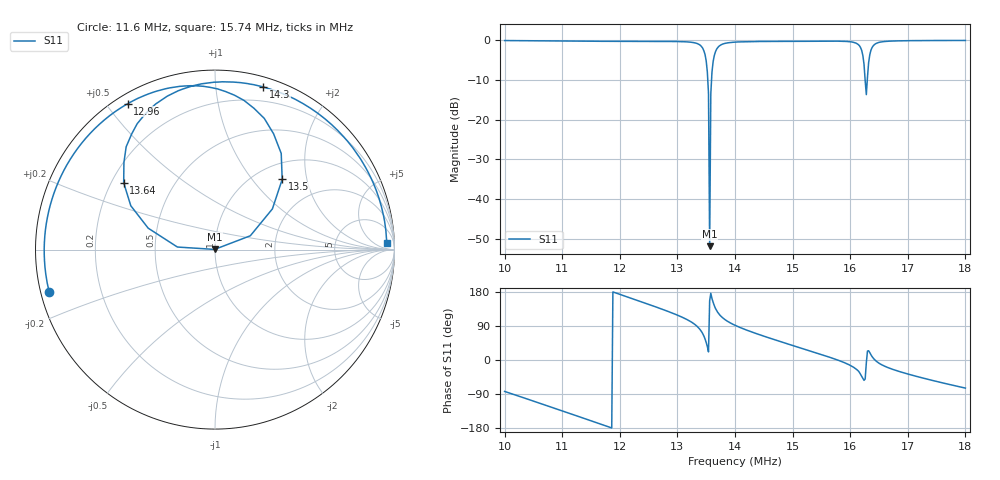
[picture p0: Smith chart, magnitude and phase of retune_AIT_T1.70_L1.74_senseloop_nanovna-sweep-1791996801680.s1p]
! NanoVNA Web complex sweep
! Processing: original sample grid, no browser smoothing
# Hz S RI R 50
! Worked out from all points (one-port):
!   401 points, 10 MHz to 18 MHz, reference 50 ohm
!   lowest |S11| = -51.7 dB at 13.56 MHz (marker M1), VSWR 1.01, Z = 49.8 + j0.104 ohm
!   |S11| at or under -10 dB: 13.52695 MHz to 13.59317 MHz (66.22 kHz wide, 0.488 % of centre); 16.2588 MHz to 16.29722 MHz (38.41 kHz wide, 0.236 % of centre)
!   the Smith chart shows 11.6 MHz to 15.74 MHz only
!   S11 on the Smith chart (normalised r, x): 11.6 MHz: 0.02, -0.13; 12.96 MHz: 0.04, +0.57; 13.5 MHz: 1.30, +1.44; 13.64 MHz: 0.25, +0.31; 14.3 MHz: 0.08, +1.34; 15.74 MHz: 26, +23
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1e7  0.1199 -0.966
1.05e7  -0.3052 -0.9192
1.1e7  -0.6709 -0.6885
1.16e7  -0.924 -0.2361
1.2e7  -0.9447 0.1105
1.296e7  -0.4863 0.8129
1.3e7  -0.4499 0.8325
1.336e7  0.0594 0.8803
1.344e7  0.2747 0.7308
1.35e7  0.3744 0.3912
1.352e7  0.3197 0.2266
1.356e7  -0.00238 0.00105
1.36e7  -0.3722 0.1194
1.362e7  -0.4692 0.2444
1.364e7  -0.5087 0.3723
1.376e7  -0.3631 0.7822
1.4e7  -0.0271 0.9304
1.43e7  0.2695 0.9062
1.5e7  0.7482 0.5917
1.574e7  0.9566 0.0363
1.6e7  0.9101 -0.2314
1.618e7  0.6286 -0.4873
1.626e7  0.1973 -0.2358
1.63e7  0.3109 0.1357
1.634e7  0.609 0.2159
1.646e7  0.8999 -0.0643
1.7e7  0.7748 -0.5831
1.8e7  0.2668 -0.9389
